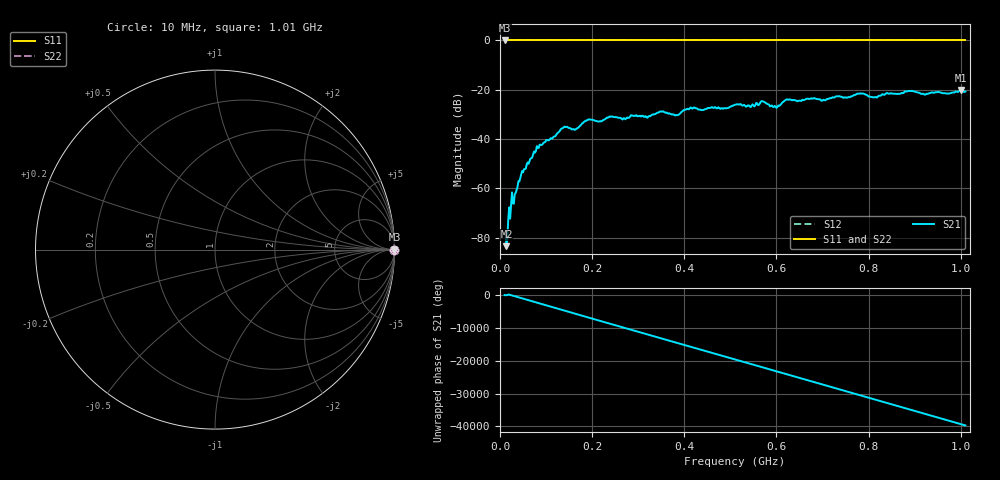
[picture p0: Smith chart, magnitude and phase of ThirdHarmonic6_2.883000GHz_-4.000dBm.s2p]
! 8/17/2025 7:54:48 AM
! C:\ANRITSUVNA\TEMP\TEMP.S2P
! CHANNEL.1
! TR.MEASUREMENT
! RAW.DATA
! RF.CORRECTION.OFF
! AVERAGING.OFF
! IF.BANDWIDTH: 5KHZ
! SWEEPTYPE:  FREQ.SWEEP(Linear)
! Reference Plane Port Info
! PORT:  PORT1  PORT2
! DISTANCE:  0  m  0  m
! TIME:  0  s  0  s
! PHASE.OFFSET:  0  deg.  0  deg.
! LOSS:  0  dB  0  dB
! REF.LOSS:  0  dB  0  dB
! REF.FREQ:  0  Hz  0  Hz
! Power Info
! POWER:  -20  dBm  -20  dBm
! EFF.POWER:  -20  dBm  -20  dBm
! SOURCE.ATTEN:  0  dB  0  dB
! TEST.ATTEN:  0  dB  0  dB
# GHZ S RI R 50.0
! FREQ.GHZ  S11RE  S11IM  S21RE  S21IM  S12RE  S12IM  S22RE  S22IM
!; PortSelection: Port_12
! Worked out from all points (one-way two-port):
!   501 points, 10 MHz to 1.01 GHz, reference 50 ohm
!   highest |S21| = -20.07 dB at 1 GHz (marker M1); lowest = -83.4 dB at 14 MHz (marker M2)
!   lowest |S11| = 0.0 dB at 10 MHz (marker M3)
!   |S11| at or under -10 dB: nowhere
!   |S22| runs from 0.0 to 0.0 dB; largest |S21 - S12| = 1.1
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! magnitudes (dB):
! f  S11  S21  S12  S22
! 10 MHz  0.0  -78.3  0.0  0.0
! 14 MHz  0.0  -83.4  0.0  0.0
! 18 MHz  0.0  -72.2  0.0  0.0
! 22 MHz  0.0  -72.2  0.0  0.0
! 44 MHz  0.0  -55.9  0.0  0.0
! 76 MHz  0.0  -45.4  0.0  0.0
! 136 MHz  0.0  -35.5  0.0  0.0
! 162 MHz  0.0  -36.2  0.0  0.0
! 178 MHz  0.0  -33.7  0.0  0.0
! 194 MHz  0.0  -32.0  0.0  0.0
! 322 MHz  0.0  -30.8  0.0  0.0
! 344 MHz  0.0  -29.2  0.0  0.0
! 384 MHz  0.0  -30.2  0.0  0.0
! 416 MHz  0.0  -27.5  0.0  0.0
! 510 MHz  0.0  -26.0  0.0  0.0
! 570 MHz  0.0  -24.6  0.0  0.0
! 598 MHz  0.0  -26.8  0.0  0.0
! 624 MHz  0.0  -23.9  0.0  0.0
! 678 MHz  0.0  -23.6  0.0  0.0
! 844 MHz  0.0  -21.6  0.0  0.0
! 1 GHz  0.0  -20.1  0.0  0.0
! 1.01 GHz  0.0  -20.7  0.0  0.0
